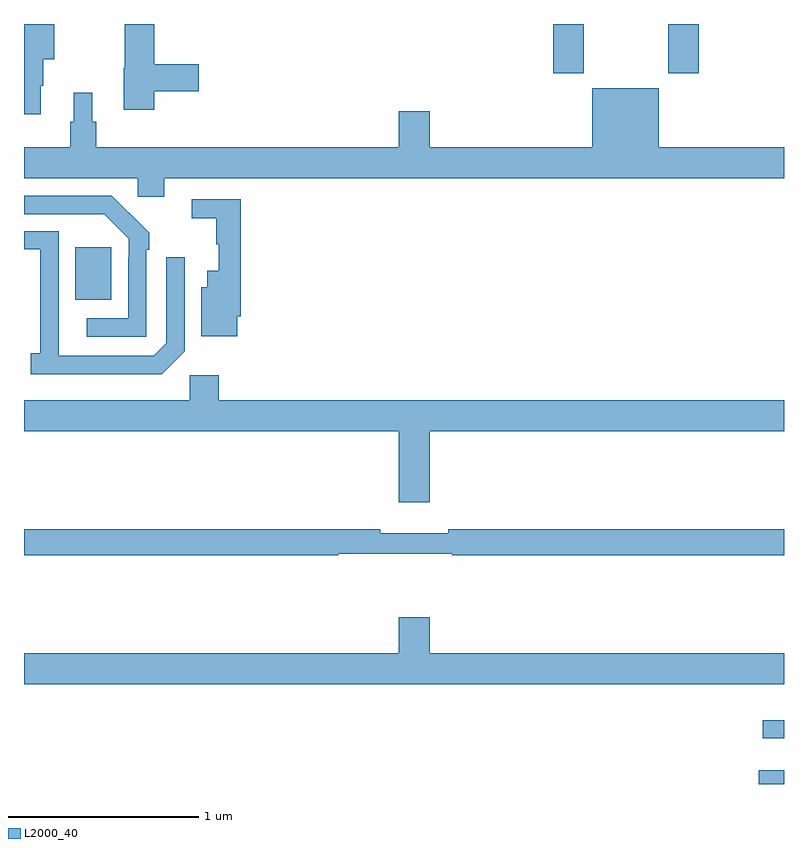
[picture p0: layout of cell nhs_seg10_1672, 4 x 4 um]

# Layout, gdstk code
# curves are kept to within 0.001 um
import gdstk
lib = gdstk.Library(unit=1e-6, precision=1e-09)
def R(c, l, rs):  # rectangles x0, y0, x1, y1
    for r in rs: c.add(gdstk.rectangle(r[:2], r[2:], *l))
def P(c, l, *ps):  # polygons
    for p in ps: c.add(gdstk.Polygon(p, *l))
L2000_40 = (2000, 40)

nhs_seg10_1672 = lib.new_cell('nhs_seg10_1672')
R(nhs_seg10_1672, L2000_40, [(202.868,1258.5,203,1258.573), (202.887,1258.74,203,1258.836), (199.271,1261.049,199.459,1261.324), (201.785,1262.241,201.945,1262.5), (202.39,1262.241,202.55,1262.5)])
P(nhs_seg10_1672, L2000_40, [(199.685,1262.146),(199.921,1262.146),(199.921,1262.288),(199.685,1262.288),(199.685,1262.5),(199.531,1262.5),(199.531,1262.271),(199.525,1262.271),(199.525,1262.048),(199.685,1262.048)],
  [(199.089,1262.174),(199.102,1262.174),(199.102,1262.315),(199.158,1262.315),(199.158,1262.5),(199,1262.5),(199,1262.024),(199.089,1262.024)],
  [(199.738,1261.688),(203,1261.688),(203,1261.852),(202.342,1261.852),(202.342,1262.161),(201.992,1262.161),(201.992,1261.852),(201.136,1261.852),(201.136,1262.041),(200.972,1262.041),(200.972,1261.852),(199.379,1261.852),(199.379,1261.986),(199.36,1261.986),(199.36,1262.137),(199.262,1262.137),(199.262,1261.986),(199.243,1261.986),(199.243,1261.852),(199,1261.852),(199,1261.688),(199.599,1261.688),(199.599,1261.59),(199.738,1261.59)],
  [(199.644,1261.313),(199.659,1261.313),(199.659,1261.401),(199.462,1261.596),(199,1261.596),(199,1261.5),(199.423,1261.5),(199.551,1261.371),(199.551,1261.271),(199.548,1261.271),(199.548,1260.951),(199.329,1260.951),(199.329,1260.855),(199.644,1260.855)],
  [(200.122,1260.961),(200.141,1260.961),(200.141,1261.578),(199.884,1261.578),(199.884,1261.477),(200.013,1261.477),(200.013,1261.341),(200.024,1261.341),(200.024,1261.201),(199.964,1261.201),(199.964,1261.114),(199.934,1261.114),(199.934,1260.857),(200.122,1260.857)],
  [(199.845,1260.777),(199.845,1261.273),(199.749,1261.273),(199.749,1260.819),(199.683,1260.753),(199.183,1260.753),(199.182,1261.41),(199,1261.41),(199,1261.314),(199.086,1261.314),(199.086,1260.766),(199.035,1260.766),(199.035,1260.656),(199.724,1260.656)],
  [(201.136,1260.356),(203,1260.356),(203,1260.52),(200.024,1260.52),(200.024,1260.652),(199.872,1260.652),(199.872,1260.52),(199,1260.52),(199,1260.356),(200.972,1260.356),(200.972,1259.982),(201.136,1259.982)],
  [(200.655,1259.712),(201.255,1259.712),(201.255,1259.704),(203,1259.704),(203,1259.84),(201.232,1259.84),(201.232,1259.821),(200.876,1259.821),(200.876,1259.84),(199,1259.84),(199,1259.704),(200.655,1259.704)],
  [(203,1259.188),(201.136,1259.188),(201.136,1259.377),(200.972,1259.377),(200.972,1259.188),(199,1259.188),(199,1259.024),(203,1259.024)])

lib.write_gds('nhs_seg10_1672.gds')
